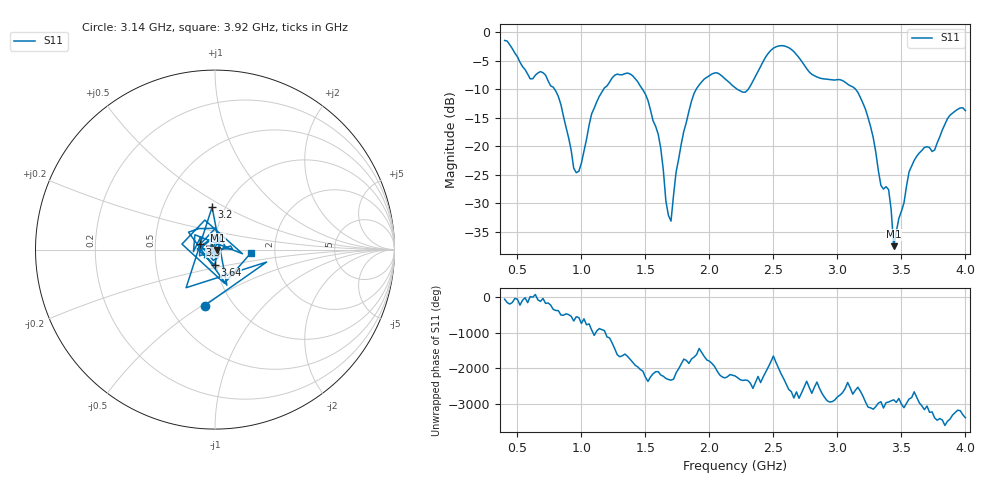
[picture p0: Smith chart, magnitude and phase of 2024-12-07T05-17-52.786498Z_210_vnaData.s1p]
!Created with skrf (http://scikit-rf.org).
# Hz S RI R 50.0
!freq ReS11 ImS11
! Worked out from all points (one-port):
!   181 points, 400 MHz to 4 GHz, reference 50 ohm
!   lowest |S11| = -37.5 dB at 3.44 GHz (marker M1), VSWR 1.03, Z = 51.3 - j0.193 ohm
!   |S11| at or under -10 dB: 789.7 MHz to 1.174 GHz (384.5 MHz wide, 39.2 % of centre); 1.476 GHz to 1.898 GHz (421.3 MHz wide, 25 % of centre); 3.141 GHz to end of sweep (the widest 3 of 4)
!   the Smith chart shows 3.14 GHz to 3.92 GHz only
!   S11 on the Smith chart (normalised r, x): 3.14 GHz: 0.74, -0.51; 3.2 GHz: 0.87, +0.44; 3.3 GHz: 0.84, +0.05; 3.64 GHz: 0.98, -0.17; 3.92 GHz: 1.51, -0.05
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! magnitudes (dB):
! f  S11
! 400 MHz  -1.5
! 600 MHz  -8.2
! 720 MHz  -7.6
! 860 MHz  -14.8
! 940 MHz  -23.9
! 980 MHz  -24.4
! 1.08 GHz  -14.3
! 1.3 GHz  -7.5
! 1.52 GHz  -12.0
! 1.6 GHz  -17.9
! 1.7 GHz  -33.1
! 1.76 GHz  -22.2
! 1.92 GHz  -9.3
! 2.2 GHz  -9.7
! 2.3 GHz  -10.1
! 2.5 GHz  -2.8
! 2.66 GHz  -3.4
! 3.1 GHz  -9.4
! 3.14 GHz  -10.0
! 3.2 GHz  -12.5
! 3.3 GHz  -21.1
! 3.34 GHz  -26.9
! 3.4 GHz  -27.6
! 3.44 GHz  -37.5
! 3.56 GHz  -24.5
! 3.64 GHz  -21.2
! 3.92 GHz  -13.9
! 4 GHz  -13.8
